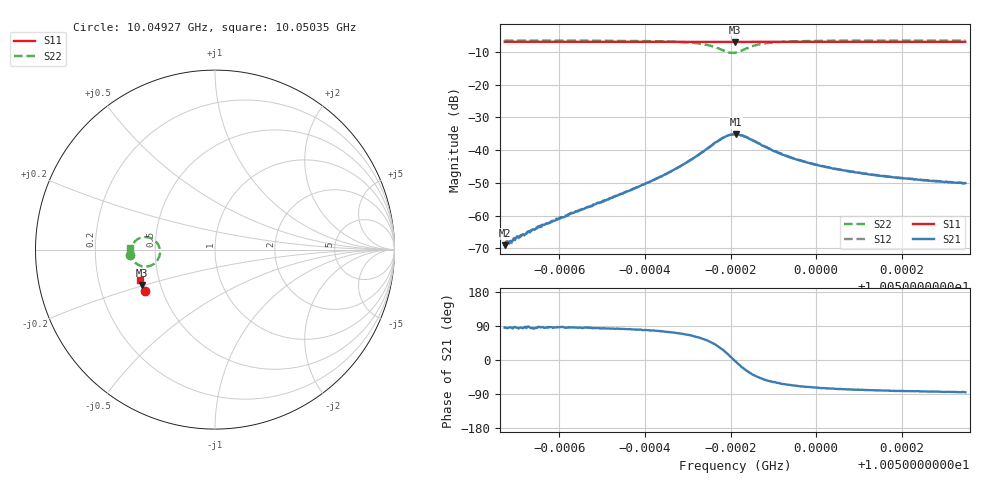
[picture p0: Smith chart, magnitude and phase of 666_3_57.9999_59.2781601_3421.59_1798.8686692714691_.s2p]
#  HZ  S  RI  R  50.00
! Rohde & Schwarz Vector Network Analyzer
! Rohde-Schwarz,ZNB20-2Port,1311601062101988,3.16
! Created: UTC 3/21/2024, 1:20:10 AM
! freq[Hz]  re:S11  im:S11  re:S21  im:S21  re:S12  im:S12  re:S22  im:S22
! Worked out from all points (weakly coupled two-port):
!   401 points, 10.04927 GHz to 10.05035 GHz, reference 50 ohm
!   highest |S21| = -35.12 dB at 10.04981 GHz (marker M1); lowest = -69.1 dB at 10.04927 GHz (marker M2)
!   lowest |S11| = -6.9 dB at 10.04981 GHz (marker M3), VSWR 2.65, Z = 19.8 - j9.89 ohm
!   |S11| at or under -10 dB: nowhere
!   |S22| runs from -10.3 to -6.5 dB; largest |S21 - S12| = 0.0016
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1.0049272e10  -0.3911 -0.2311  2.81e-05 0.000349  3.24e-06 0.00034  -0.4739 -0.0282
1.004928e10  -0.3915 -0.2307  3.59e-05 0.000401  3.1e-05 0.000373  -0.4741 -0.0275
1.0049286e10  -0.3917 -0.2304  3.06e-05 0.000409  1.02e-06 0.000379  -0.4738 -0.0269
1.0049296e10  -0.3919 -0.2298  2.14e-05 0.000421  -2.26e-06 0.000449  -0.474 -0.0259
1.0049356e10  -0.3939 -0.2262  5.11e-05 0.000701  3.27e-06 0.000668  -0.4737 -0.0196
1.0049453e10  -0.3969 -0.2206  0.000128 0.00123  2.43e-05 0.00125  -0.4725 -0.00817
1.0049582e10  -0.4008 -0.2129  0.000467 0.00265  0.000262 0.0027  -0.4671 0.0136
1.0049633e10  -0.4022 -0.2097  0.000892 0.0037  0.000684 0.00378  -0.4611 0.0264
1.0049673e10  -0.4033 -0.2072  0.00169 0.00495  0.00137 0.00504  -0.452 0.04
1.0049705e10  -0.4041 -0.2052  0.0029 0.00636  0.00258 0.00646  -0.4377 0.0532
1.0049738e10  -0.4047 -0.203  0.00554 0.0079  0.00506 0.00821  -0.41 0.0667
1.0049762e10  -0.4051 -0.2013  0.00947 0.00858  0.00875 0.00897  -0.3734 0.0684
1.0049792e10  -0.4051 -0.1997  0.0157 0.00505  0.0152 0.00585  -0.3173 0.0285
1.004981e10  -0.4052 -0.1992  0.0175 -0.000688  0.0175 0.000568  -0.3075 -0.0271
1.0049813e10  -0.4053 -0.1993  0.0175 -0.00159  0.0175 -0.000368  -0.3095 -0.035
1.004984e10  -0.4064 -0.1984  0.0133 -0.0077  0.014 -0.00684  -0.3562 -0.0882
1.0049878e10  -0.408 -0.1962  0.00718 -0.00904  0.00779 -0.00866  -0.4171 -0.0897
1.0049923e10  -0.4097 -0.1936  0.00374 -0.00755  0.00434 -0.0074  -0.4491 -0.0687
1.0049991e10  -0.4117 -0.1893  0.00189 -0.00585  0.00229 -0.00578  -0.4651 -0.045
1.0050077e10  -0.4139 -0.184  0.00103 -0.00463  0.0013 -0.00462  -0.4717 -0.026
1.0050171e10  -0.4163 -0.1783  0.000608 -0.00386  0.000867 -0.00384  -0.4742 -0.0117
1.0050349e10  -0.4205 -0.1674  0.000256 -0.00312  0.00048 -0.00309  -0.4753 0.00775
